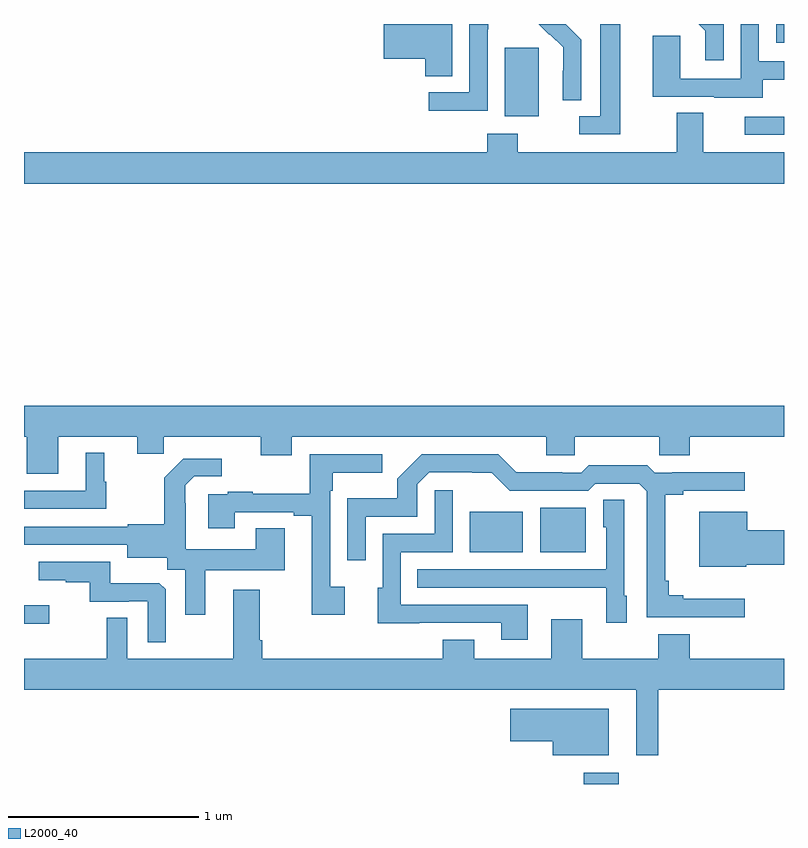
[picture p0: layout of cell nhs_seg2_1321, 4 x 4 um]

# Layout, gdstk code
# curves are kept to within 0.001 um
import gdstk
lib = gdstk.Library(unit=1e-6, precision=1e-09)
def R(c, l, rs):  # rectangles x0, y0, x1, y1
    for r in rs: c.add(gdstk.rectangle(r[:2], r[2:], *l))
def P(c, l, *ps):  # polygons
    for p in ps: c.add(gdstk.Polygon(p, *l))
L2000_40 = (2000, 40)

nhs_seg2_1321 = lib.new_cell('nhs_seg2_1321')
R(nhs_seg2_1321, L2000_40, [(181.947,653.8,182.131,653.86), (179,654.644,179.134,654.742), (181.346,655.019,181.624,655.234), (181.718,655.019,181.957,655.255), (182.793,657.216,183,657.312), (181.529,657.314,181.708,657.675), (182.958,657.702,183,657.8)])
P(nhs_seg2_1321, L2000_40, [(181.932,657.718),(181.859,657.791),(181.86,657.792),(181.852,657.8),(181.708,657.8),(181.764,657.744),(181.767,657.747),(181.838,657.677),(181.838,657.554),(181.836,657.554),(181.836,657.4),(181.932,657.4)],
  [(181.44,657.772),(181.443,657.772),(181.443,657.8),(181.344,657.8),(181.344,657.441),(181.131,657.441),(181.131,657.343),(181.44,657.343)],
  [(182.887,657.507),(183,657.507),(183,657.603),(182.868,657.603),(182.868,657.8),(182.772,657.8),(182.772,657.513),(182.454,657.513),(182.454,657.737),(182.309,657.737),(182.309,657.417),(182.633,657.417),(182.633,657.413),(182.887,657.413)],
  [(182.682,657.8),(182.55,657.8),(182.585,657.765),(182.585,657.609),(182.682,657.609)],
  [(182.137,657.8),(182.033,657.8),(182.033,657.315),(181.923,657.315),(181.923,657.219),(182.137,657.219)],
  [(181.255,657.8),(180.894,657.8),(180.894,657.617),(181.112,657.617),(181.112,657.526),(181.255,657.526)],
  [(183,657.124),(182.575,657.124),(182.575,657.332),(182.435,657.332),(182.435,657.124),(181.599,657.124),(181.599,657.223),(181.439,657.223),(181.439,657.124),(179,657.124),(179,656.96),(183,656.96)],
  [(179.179,655.628),(179.597,655.628),(179.597,655.538),(179.735,655.538),(179.735,655.628),(180.245,655.628),(180.245,655.529),(180.409,655.529),(180.409,655.628),(181.748,655.628),(181.748,655.53),(181.899,655.53),(181.899,655.628),(182.344,655.628),(182.344,655.53),(182.504,655.53),(182.504,655.628),(183,655.628),(183,655.792),(179,655.792),(179,655.628),(179.015,655.628),(179.015,655.434),(179.179,655.434)],
  [(179.434,655.392),(179.422,655.392),(179.422,655.543),(179.324,655.543),(179.324,655.344),(179,655.344),(179,655.248),(179.434,655.248)],
  [(180.688,654.838),(180.612,654.838),(180.612,655.343),(180.625,655.343),(180.625,655.439),(180.886,655.439),(180.886,655.536),(180.504,655.536),(180.504,655.328),(180.205,655.328),(180.205,655.339),(180.073,655.339),(180.073,655.326),(179.969,655.326),(179.969,655.146),(180.109,655.146),(180.109,655.23),(180.419,655.23),(180.419,655.212),(180.515,655.212),(180.515,654.69),(180.688,654.69)],
  [(182.794,654.775),(182.47,654.775),(182.47,654.794),(182.393,654.794),(182.393,654.871),(182.375,654.871),(182.375,655.322),(182.47,655.322),(182.47,655.344),(182.794,655.344),(182.794,655.442),(182.413,655.442),(182.413,655.437),(182.319,655.437),(182.279,655.477),(181.972,655.477),(181.932,655.437),(181.832,655.437),(181.832,655.442),(181.592,655.442),(181.497,655.536),(181.094,655.536),(180.964,655.406),(180.964,655.303),(180.702,655.303),(180.702,654.978),(180.798,654.978),(180.798,655.206),(181.071,655.206),(181.071,655.377),(181.134,655.44),(181.463,655.439),(181.557,655.344),(181.971,655.344),(182.007,655.38),(182.238,655.38),(182.277,655.341),(182.277,654.678),(182.794,654.678)],
  [(179.953,654.926),(180.373,654.926),(180.373,655.145),(180.221,655.145),(180.221,655.036),(179.85,655.036),(179.85,655.277),(179.848,655.277),(179.848,655.372),(179.895,655.419),(180.04,655.419),(180.04,655.513),(179.839,655.513),(179.739,655.413),(179.739,655.168),(179.547,655.168),(179.547,655.155),(179,655.155),(179,655.059),(179.543,655.059),(179.543,654.992),(179.754,654.992),(179.754,654.928),(179.849,654.928),(179.849,654.69),(179.953,654.69)],
  [(181.651,654.744),(180.984,654.744),(180.984,655.02),(181.257,655.02),(181.257,655.345),(181.161,655.345),(181.161,655.116),(180.888,655.116),(180.888,654.834),(180.863,654.834),(180.863,654.647),(181.081,654.647),(181.081,654.648),(181.511,654.648),(181.511,654.558),(181.651,654.558)],
  [(182.173,654.792),(182.16,654.792),(182.16,655.295),(182.048,655.295),(182.048,655.152),(182.064,655.152),(182.064,654.93),(181.069,654.93),(181.069,654.834),(181.747,654.834),(181.747,654.833),(182.064,654.833),(182.064,654.648),(182.173,654.648)],
  [(182.802,654.953),(183,654.953),(183,655.136),(182.806,655.136),(182.806,655.234),(182.555,655.234),(182.555,654.944),(182.802,654.944)],
  [(179.745,654.825),(179.713,654.857),(179.455,654.857),(179.455,654.969),(179.077,654.969),(179.077,654.872),(179.221,654.872),(179.221,654.861),(179.345,654.861),(179.345,654.759),(179.552,654.759),(179.552,654.762),(179.652,654.762),(179.652,654.545),(179.745,654.545)],
  [(182.339,654.296),(183,654.296),(183,654.46),(182.503,654.46),(182.503,654.589),(182.339,654.589),(182.339,654.46),(181.939,654.46),(181.939,654.667),(181.775,654.667),(181.775,654.46),(181.369,654.46),(181.369,654.559),(181.205,654.559),(181.205,654.46),(180.254,654.46),(180.254,654.556),(180.241,654.556),(180.241,654.823),(180.101,654.823),(180.101,654.46),(179.544,654.46),(179.544,654.674),(179.436,654.674),(179.436,654.46),(179,654.46),(179,654.296),(182.222,654.296),(182.222,653.952),(182.339,653.952)],
  [(182.077,654.196),(181.56,654.196),(181.56,654.026),(181.784,654.026),(181.784,653.951),(182.077,653.951)])

lib.write_gds('nhs_seg2_1321.gds')
